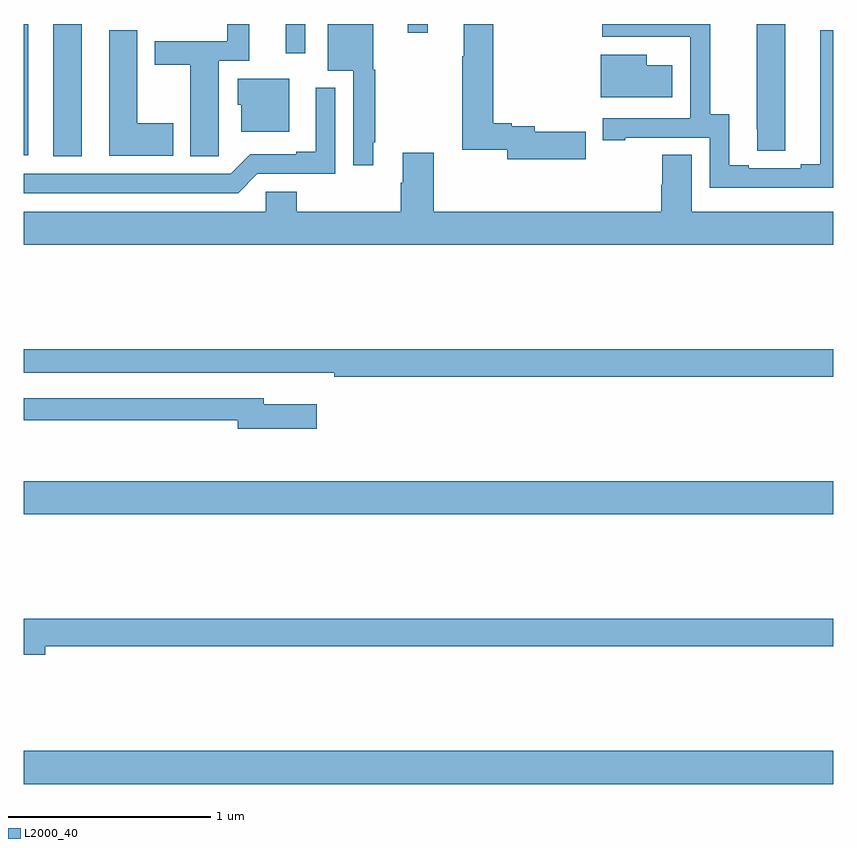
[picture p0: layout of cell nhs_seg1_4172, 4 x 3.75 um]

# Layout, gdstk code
import gdstk
lib = gdstk.Library(unit=1e-6, precision=1e-09)
def R(c, l, rs):  # rectangles x0, y0, x1, y1
    for r in rs: c.add(gdstk.rectangle(r[:2], r[2:], *l))
def P(c, l, *ps):  # polygons
    for p in ps: c.add(gdstk.Polygon(p, *l))
L2000_40 = (2000, 40)

nhs_seg1_4172 = lib.new_cell('nhs_seg1_4172')
R(nhs_seg1_4172, L2000_40, [(339,506.444,343,506.608), (339,507.776,343,507.94), (339.146,509.545,339.286,510.199), (339,509.55,339.022,510.199), (340.295,510.054,340.392,510.199), (340.897,510.156,340.996,510.199)])
P(nhs_seg1_4172, L2000_40, [(339.963,509.656),(339.964,509.656),(339.964,510.018),(340.115,510.018),(340.115,510.199),(340.006,510.199),(340.006,510.114),(339.647,510.114),(339.647,509.998),(339.824,509.998),(339.824,509.545),(339.963,509.545)],
  [(342.763,510.199),(342.623,510.199),(342.623,509.68),(342.624,509.68),(342.624,509.572),(342.763,509.572)],
  [(340.726,509.614),(340.738,509.614),(340.738,509.973),(340.726,509.973),(340.726,510.199),(340.502,510.199),(340.502,509.969),(340.629,509.969),(340.629,509.502),(340.726,509.502)],
  [(341.776,509.666),(341.524,509.666),(341.524,509.695),(341.412,509.695),(341.412,509.708),(341.321,509.708),(341.321,510.199),(341.174,510.199),(341.174,510.04),(341.167,510.04),(341.167,509.578),(341.39,509.578),(341.39,509.531),(341.776,509.531)],
  [(343,510.167),(342.935,510.167),(342.935,509.507),(342.839,509.507),(342.839,509.487),(342.583,509.487),(342.583,509.502),(342.487,509.502),(342.487,509.753),(342.393,509.753),(342.393,510.199),(341.859,510.199),(341.859,510.135),(342.293,510.135),(342.293,510.134),(342.294,510.134),(342.294,509.733),(341.861,509.733),(341.861,509.625),(341.971,509.625),(341.971,509.637),(342.39,509.637),(342.39,509.391),(343,509.391)],
  [(339.739,509.709),(339.562,509.709),(339.562,510.167),(339.423,510.167),(339.423,510.059),(339.422,510.059),(339.422,509.549),(339.739,509.549)],
  [(342.205,509.995),(342.079,509.995),(342.079,510.046),(341.852,510.046),(341.852,509.837),(342.205,509.837)],
  [(340.312,509.929),(340.058,509.929),(340.058,509.799),(340.076,509.799),(340.076,509.666),(340.312,509.666)],
  [(340.155,509.46),(340.539,509.46),(340.539,509.884),(340.442,509.884),(340.442,509.569),(340.346,509.569),(340.346,509.556),(340.119,509.556),(340.023,509.46),(339,509.46),(339,509.364),(340.059,509.364)],
  [(343,509.272),(342.301,509.272),(342.301,509.552),(342.154,509.552),(342.154,509.406),(342.149,509.406),(342.149,509.272),(341.027,509.272),(341.027,509.563),(340.874,509.563),(340.874,509.414),(340.862,509.414),(340.862,509.272),(340.349,509.272),(340.349,509.37),(340.197,509.37),(340.197,509.272),(339,509.272),(339,509.108),(343,509.108)],
  [(343,508.592),(339,508.592),(339,508.476),(340.282,508.476),(340.282,508.475),(340.534,508.475),(340.534,508.456),(343,508.456)],
  [(340.447,508.321),(340.186,508.321),(340.186,508.35),(339,508.35),(339,508.242),(340.058,508.242),(340.058,508.199),(340.447,508.199)],
  [(339.106,507.124),(343,507.124),(343,507.26),(339,507.26),(339,507.082),(339.106,507.082)])

lib.write_gds('nhs_seg1_4172.gds')
